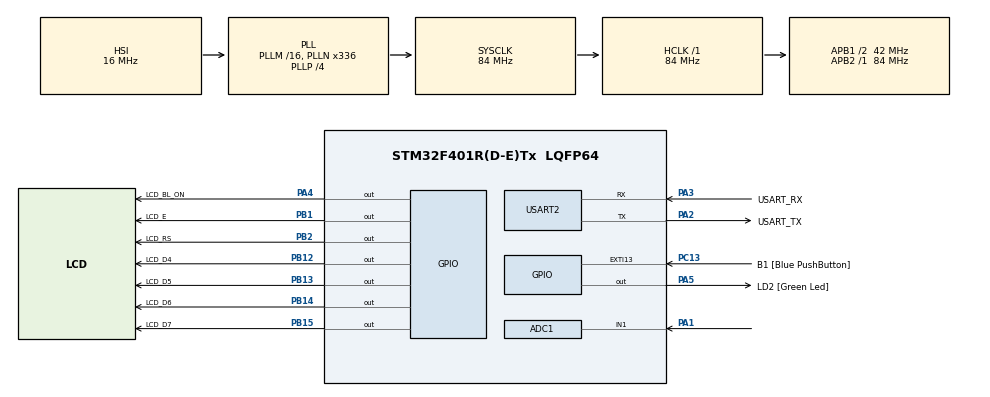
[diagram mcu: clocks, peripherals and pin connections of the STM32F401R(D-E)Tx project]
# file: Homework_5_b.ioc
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ADC1.Channel-0\#ChannelRegularConversion=ADC_CHANNEL_1
ADC1.DMAContinuousRequests=ENABLE
ADC1.ExternalTrigConv=ADC_EXTERNALTRIGCONV_T3_TRGO
ADC1.NbrOfConversionFlag=1
ADC1.Rank-0\#ChannelRegularConversion=1
ADC1.SamplingTime-0\#ChannelRegularConversion=ADC_SAMPLETIME_480CYCLES
ADC1.master=1
Dma.ADC1.0.Direction=DMA_PERIPH_TO_MEMORY
Dma.ADC1.0.FIFOMode=DMA_FIFOMODE_DISABLE
Dma.ADC1.0.Instance=DMA2_Stream0
Dma.ADC1.0.MemDataAlignment=DMA_MDATAALIGN_HALFWORD
Dma.ADC1.0.MemInc=DMA_MINC_ENABLE
Dma.ADC1.0.Mode=DMA_CIRCULAR
Dma.ADC1.0.PeriphDataAlignment=DMA_PDATAALIGN_HALFWORD
Dma.ADC1.0.PeriphInc=DMA_PINC_DISABLE
Dma.ADC1.0.Priority=DMA_PRIORITY_LOW
Dma.Request0=ADC1
Mcu.Family=STM32F4
Mcu.Name=STM32F401R(D-E)Tx
Mcu.Package=LQFP64
NVIC.ADC_IRQn=true\:0\:0\:false\:false\:true\:true\:true\:true
NVIC.DMA2_Stream0_IRQn=true\:0\:0\:false\:false\:true\:false\:true\:true
NVIC.PriorityGroup=NVIC_PRIORITYGROUP_0
NVIC.TIM3_IRQn=true\:0\:0\:false\:false\:true\:true\:true\:true
PA1.Signal=ADCx_IN1
PA13.GPIO_Label=TMS
PA13.Mode=Serial_Wire
PA13.Signal=SYS_JTMS-SWDIO
PA14.GPIO_Label=TCK
PA14.Mode=Serial_Wire
PA14.Signal=SYS_JTCK-SWCLK
PA2.GPIO_Label=USART_TX
PA2.GPIO_Mode=GPIO_MODE_AF_PP
PA2.GPIO_PuPd=GPIO_NOPULL
PA2.GPIO_Speed=GPIO_SPEED_FREQ_LOW
PA2.Mode=Asynchronous
PA2.Signal=USART2_TX
PA3.GPIO_Label=USART_RX
PA3.GPIO_Mode=GPIO_MODE_AF_PP
PA3.GPIO_PuPd=GPIO_NOPULL
PA3.GPIO_Speed=GPIO_SPEED_FREQ_LOW
PA3.Mode=Asynchronous
PA3.Signal=USART2_RX
PA4.GPIO_Label=LCD_BL_ON
PA4.Signal=GPIO_Output
PA5.GPIO_Label=LD2 [Green Led]
PA5.GPIO_Mode=GPIO_MODE_OUTPUT_PP
PA5.GPIO_PuPd=GPIO_NOPULL
PA5.GPIO_Speed=GPIO_SPEED_FREQ_LOW
PA5.Signal=GPIO_Output
PB1.GPIO_Label=LCD_E
PB1.Signal=GPIO_Output
PB12.GPIO_Label=LCD_D4
PB12.Signal=GPIO_Output
PB13.GPIO_Label=LCD_D5
PB13.Signal=GPIO_Output
PB14.GPIO_Label=LCD_D6
PB14.Signal=GPIO_Output
PB15.GPIO_Label=LCD_D7
PB15.Signal=GPIO_Output
PB2.GPIO_Label=LCD_RS
PB2.Signal=GPIO_Output
PB3.GPIO_Label=SWO
PB3.Signal=SYS_JTDO-SWO
PC13-ANTI_TAMP.GPIO_Label=B1 [Blue PushButton]
PC13-ANTI_TAMP.GPIO_ModeDefaultEXTI=GPIO_MODE_IT_FALLING
PC13-ANTI_TAMP.GPIO_PuPd=GPIO_NOPULL
PC13-ANTI_TAMP.Signal=GPXTI13
PC14-OSC32_IN.Mode=LSE-External-Oscillator
PC14-OSC32_IN.Signal=RCC_OSC32_IN
PC15-OSC32_OUT.Mode=LSE-External-Oscillator
PC15-OSC32_OUT.Signal=RCC_OSC32_OUT
PH0\ -\ OSC_IN.Mode=HSE-External-Clock-Source
PH0\ -\ OSC_IN.Signal=RCC_OSC_IN
PH1\ -\ OSC_OUT.Mode=HSE-External-Clock-Source
PH1\ -\ OSC_OUT.Signal=RCC_OSC_OUT
ProjectManager.HeapSize=0x200
ProjectManager.StackSize=0x400
ProjectManager.TargetToolchain=STM32CubeIDE
RCC.48MHZClocksFreq_Value=48000000
RCC.AHBFreq_Value=84000000
RCC.APB1CLKDivider=RCC_HCLK_DIV2
RCC.APB1Freq_Value=42000000
RCC.APB1TimFreq_Value=84000000
RCC.APB2Freq_Value=84000000
RCC.APB2TimFreq_Value=84000000
RCC.CortexFreq_Value=84000000
RCC.HCLKFreq_Value=84000000
RCC.HSE_VALUE=8000000
RCC.HSI_VALUE=16000000
RCC.PLLN=336
RCC.PLLP=RCC_PLLP_DIV4
RCC.PLLQ=7
RCC.SYSCLKFreq_VALUE=84000000
RCC.SYSCLKSource=RCC_SYSCLKSOURCE_PLLCLK
RCC.VCOOutputFreq_Value=336000000
SH.ADCx_IN1.0=ADC1_IN1,IN1
TIM3.Period=4999
TIM3.Prescaler=8399
TIM3.TIM_MasterOutputTrigger=TIM_TRGO_UPDATE
USART2.VirtualMode=VM_ASYNC
VP_TIM3_VS_ClockSourceINT.Mode=Internal
board=NUCLEO-F401RE

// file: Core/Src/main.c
/* USER CODE BEGIN Header */
/**
  ******************************************************************************
  * @file           : main.c
  * @brief          : Main program body
  ******************************************************************************
  * @attention
  *
  * Copyright (c) 2024 STMicroelectronics.
  * All rights reserved.
  *
  * This software is licensed under terms that can be found in the LICENSE file
  * in the root directory of this software component.
  * If no LICENSE file comes with this software, it is provided AS-IS.
  *
  ******************************************************************************
  */
/* USER CODE END Header */
#include "main.h"

/* USER CODE BEGIN Includes */
#include "PMDB16_LCD.h"
/* USER CODE END Includes */

/* USER CODE BEGIN PD */
#define VOLTAGE 		3.3
#define RESOLUTION 		4096.0
#define TOP_ROW 		0
#define BOTTOM_ROW 		1
#define MAX_PIXEL_ROW 	80
/* USER CODE END PD */

ADC_HandleTypeDef hadc1;
DMA_HandleTypeDef hdma_adc1;

TIM_HandleTypeDef htim3;

UART_HandleTypeDef huart2;

void SystemClock_Config(void);
static void MX_GPIO_Init(void);
static void MX_DMA_Init(void);
static void MX_USART2_UART_Init(void);
static void MX_ADC1_Init(void);
static void MX_TIM3_Init(void);

/* USER CODE BEGIN 0 */

// We only use the first value but we need at least 2 value to initialize the ADC in DMA
uint16_t ADCvalue[2];

/**
 * @brief ADC Callback Function
 *
 * @param hadc The ADC
 *
 * @details Is called in the timer callback
 */
void HAL_ADC_ConvCpltCallback(ADC_HandleTypeDef* hadc)
{
	char message [64];
	snprintf(message, sizeof(message), "Voltage : %.2fV\r\n", (VOLTAGE * ADCvalue[0]) / RESOLUTION); // Put value in the message variable
	lcd_println(message, TOP_ROW); // Put the message variable on top row of the LCD
	lcd_drawBar((MAX_PIXEL_ROW * ADCvalue[0]) / RESOLUTION); // Put a variable bar on the bottom row of the LCD
}

/* USER CODE END 0 */

int main(void)
{

  /* MCU Configuration--------------------------------------------------------*/

  /* Reset of all peripherals, Initializes the Flash interface and the Systick. */
  HAL_Init();

  /* Configure the system clock */
  SystemClock_Config();

  /* Initialize all configured peripherals */
  MX_GPIO_Init();
  MX_DMA_Init();
  MX_USART2_UART_Init();
  MX_ADC1_Init();
  MX_TIM3_Init();
  /* USER CODE BEGIN 2 */

  lcd_initialize(); 	// Initialize the LCD controller
  lcd_backlight_ON(); 	// Turn ON the LCD backlight
  lcd_clear(); 			// Clear the LCD

  /** Start the timer 3 **/
  if(HAL_TIM_Base_Start_IT(&htim3) != HAL_OK)
  {
     Error_Handler();
  }

  // Start ADC
  if(HAL_ADC_Start_DMA(&hadc1, (uint32_t *) ADCvalue, 2) != HAL_OK)
  {
  	 Error_Handler();
  }

  /* USER CODE END 2 */

  /* Infinite loop */
  while (1)
  {

  }
}

void SystemClock_Config(void)
{
  RCC_OscInitTypeDef RCC_OscInitStruct = {0};
  RCC_ClkInitTypeDef RCC_ClkInitStruct = {0};

  /** Configure the main internal regulator output voltage
  */
  __HAL_RCC_PWR_CLK_ENABLE();
  __HAL_PWR_VOLTAGESCALING_CONFIG(PWR_REGULATOR_VOLTAGE_SCALE2);

  /** Initializes the RCC Oscillators according to the specified parameters
  * in the RCC_OscInitTypeDef structure.
  */
  RCC_OscInitStruct.OscillatorType = RCC_OSCILLATORTYPE_HSI;
  RCC_OscInitStruct.HSIState = RCC_HSI_ON;
  RCC_OscInitStruct.HSICalibrationValue = RCC_HSICALIBRATION_DEFAULT;
  RCC_OscInitStruct.PLL.PLLState = RCC_PLL_ON;
  RCC_OscInitStruct.PLL.PLLSource = RCC_PLLSOURCE_HSI;
  RCC_OscInitStruct.PLL.PLLM = 16;
  RCC_OscInitStruct.PLL.PLLN = 336;
  RCC_OscInitStruct.PLL.PLLP = RCC_PLLP_DIV4;
  RCC_OscInitStruct.PLL.PLLQ = 7;
  if (HAL_RCC_OscConfig(&RCC_OscInitStruct) != HAL_OK)
  {
    Error_Handler();
  }

  /** Initializes the CPU, AHB and APB buses clocks
  */
  RCC_ClkInitStruct.ClockType = RCC_CLOCKTYPE_HCLK|RCC_CLOCKTYPE_SYSCLK
                              |RCC_CLOCKTYPE_PCLK1|RCC_CLOCKTYPE_PCLK2;
  RCC_ClkInitStruct.SYSCLKSource = RCC_SYSCLKSOURCE_PLLCLK;
  RCC_ClkInitStruct.AHBCLKDivider = RCC_SYSCLK_DIV1;
  RCC_ClkInitStruct.APB1CLKDivider = RCC_HCLK_DIV2;
  RCC_ClkInitStruct.APB2CLKDivider = RCC_HCLK_DIV1;

  if (HAL_RCC_ClockConfig(&RCC_ClkInitStruct, FLASH_LATENCY_2) != HAL_OK)
  {
    Error_Handler();
  }
}

static void MX_ADC1_Init(void)
{

  ADC_ChannelConfTypeDef sConfig = {0};

  /** Configure the global features of the ADC (Clock, Resolution, Data Alignment and number of conversion)
  */
  hadc1.Instance = ADC1;
  hadc1.Init.ClockPrescaler = ADC_CLOCK_SYNC_PCLK_DIV4;
  hadc1.Init.Resolution = ADC_RESOLUTION_12B;
  hadc1.Init.ScanConvMode = DISABLE;
  hadc1.Init.ContinuousConvMode = DISABLE;
  hadc1.Init.DiscontinuousConvMode = DISABLE;
  hadc1.Init.ExternalTrigConvEdge = ADC_EXTERNALTRIGCONVEDGE_RISING;
  hadc1.Init.ExternalTrigConv = ADC_EXTERNALTRIGCONV_T3_TRGO;
  hadc1.Init.DataAlign = ADC_DATAALIGN_RIGHT;
  hadc1.Init.NbrOfConversion = 1;
  hadc1.Init.DMAContinuousRequests = ENABLE;
  hadc1.Init.EOCSelection = ADC_EOC_SINGLE_CONV;
  if (HAL_ADC_Init(&hadc1) != HAL_OK)
  {
    Error_Handler();
  }

  /** Configure for the selected ADC regular channel its corresponding rank in the sequencer and its sample time.
  */
  sConfig.Channel = ADC_CHANNEL_1;
  sConfig.Rank = 1;
  sConfig.SamplingTime = ADC_SAMPLETIME_480CYCLES;
  if (HAL_ADC_ConfigChannel(&hadc1, &sConfig) != HAL_OK)
  {
    Error_Handler();
  }

}

static void MX_TIM3_Init(void)
{

  TIM_ClockConfigTypeDef sClockSourceConfig = {0};
  TIM_MasterConfigTypeDef sMasterConfig = {0};

  htim3.Instance = TIM3;
  htim3.Init.Prescaler = 8399;
  htim3.Init.CounterMode = TIM_COUNTERMODE_UP;
  htim3.Init.Period = 4999;
  htim3.Init.ClockDivision = TIM_CLOCKDIVISION_DIV1;
  htim3.Init.AutoReloadPreload = TIM_AUTORELOAD_PRELOAD_DISABLE;
  if (HAL_TIM_Base_Init(&htim3) != HAL_OK)
  {
    Error_Handler();
  }
  sClockSourceConfig.ClockSource = TIM_CLOCKSOURCE_INTERNAL;
  if (HAL_TIM_ConfigClockSource(&htim3, &sClockSourceConfig) != HAL_OK)
  {
    Error_Handler();
  }
  sMasterConfig.MasterOutputTrigger = TIM_TRGO_UPDATE;
  sMasterConfig.MasterSlaveMode = TIM_MASTERSLAVEMODE_DISABLE;
  if (HAL_TIMEx_MasterConfigSynchronization(&htim3, &sMasterConfig) != HAL_OK)
  {
    Error_Handler();
  }

}

static void MX_USART2_UART_Init(void)
{

  huart2.Instance = USART2;
  huart2.Init.BaudRate = 115200;
  huart2.Init.WordLength = UART_WORDLENGTH_8B;
  huart2.Init.StopBits = UART_STOPBITS_1;
  huart2.Init.Parity = UART_PARITY_NONE;
  huart2.Init.Mode = UART_MODE_TX_RX;
  huart2.Init.HwFlowCtl = UART_HWCONTROL_NONE;
  huart2.Init.OverSampling = UART_OVERSAMPLING_16;
  if (HAL_UART_Init(&huart2) != HAL_OK)
  {
    Error_Handler();
  }

}

static void MX_DMA_Init(void)
{

  /* DMA controller clock enable */
  __HAL_RCC_DMA2_CLK_ENABLE();

  /* DMA interrupt init */
  /* DMA2_Stream0_IRQn interrupt configuration */
  HAL_NVIC_SetPriority(DMA2_Stream0_IRQn, 0, 0);
  HAL_NVIC_EnableIRQ(DMA2_Stream0_IRQn);

}

static void MX_GPIO_Init(void)
{
  GPIO_InitTypeDef GPIO_InitStruct = {0};

  /* GPIO Ports Clock Enable */
  __HAL_RCC_GPIOC_CLK_ENABLE();
  __HAL_RCC_GPIOH_CLK_ENABLE();
  __HAL_RCC_GPIOA_CLK_ENABLE();
  __HAL_RCC_GPIOB_CLK_ENABLE();

  /*Configure GPIO pin Output Level */
  HAL_GPIO_WritePin(GPIOA, LCD_BL_ON_Pin|LD2_Pin, GPIO_PIN_RESET);

  /*Configure GPIO pin Output Level */
  HAL_GPIO_WritePin(GPIOB, LCD_E_Pin|LCD_RS_Pin|LCD_D4_Pin|LCD_D5_Pin
                          |LCD_D6_Pin|LCD_D7_Pin, GPIO_PIN_RESET);

  /*Configure GPIO pin : B1_Pin */
  GPIO_InitStruct.Pin = B1_Pin;
  GPIO_InitStruct.Mode = GPIO_MODE_IT_FALLING;
  GPIO_InitStruct.Pull = GPIO_NOPULL;
  HAL_GPIO_Init(B1_GPIO_Port, &GPIO_InitStruct);

  /*Configure GPIO pins : LCD_BL_ON_Pin LD2_Pin */
  GPIO_InitStruct.Pin = LCD_BL_ON_Pin|LD2_Pin;
  GPIO_InitStruct.Mode = GPIO_MODE_OUTPUT_PP;
  GPIO_InitStruct.Pull = GPIO_NOPULL;
  GPIO_InitStruct.Speed = GPIO_SPEED_FREQ_LOW;
  HAL_GPIO_Init(GPIOA, &GPIO_InitStruct);

  /*Configure GPIO pins : LCD_E_Pin LCD_RS_Pin LCD_D4_Pin LCD_D5_Pin
                           LCD_D6_Pin LCD_D7_Pin */
  GPIO_InitStruct.Pin = LCD_E_Pin|LCD_RS_Pin|LCD_D4_Pin|LCD_D5_Pin
                          |LCD_D6_Pin|LCD_D7_Pin;
  GPIO_InitStruct.Mode = GPIO_MODE_OUTPUT_PP;
  GPIO_InitStruct.Pull = GPIO_NOPULL;
  GPIO_InitStruct.Speed = GPIO_SPEED_FREQ_LOW;
  HAL_GPIO_Init(GPIOB, &GPIO_InitStruct);

}

void Error_Handler(void)
{
  __disable_irq();
  while (1)
  {
  }
}
